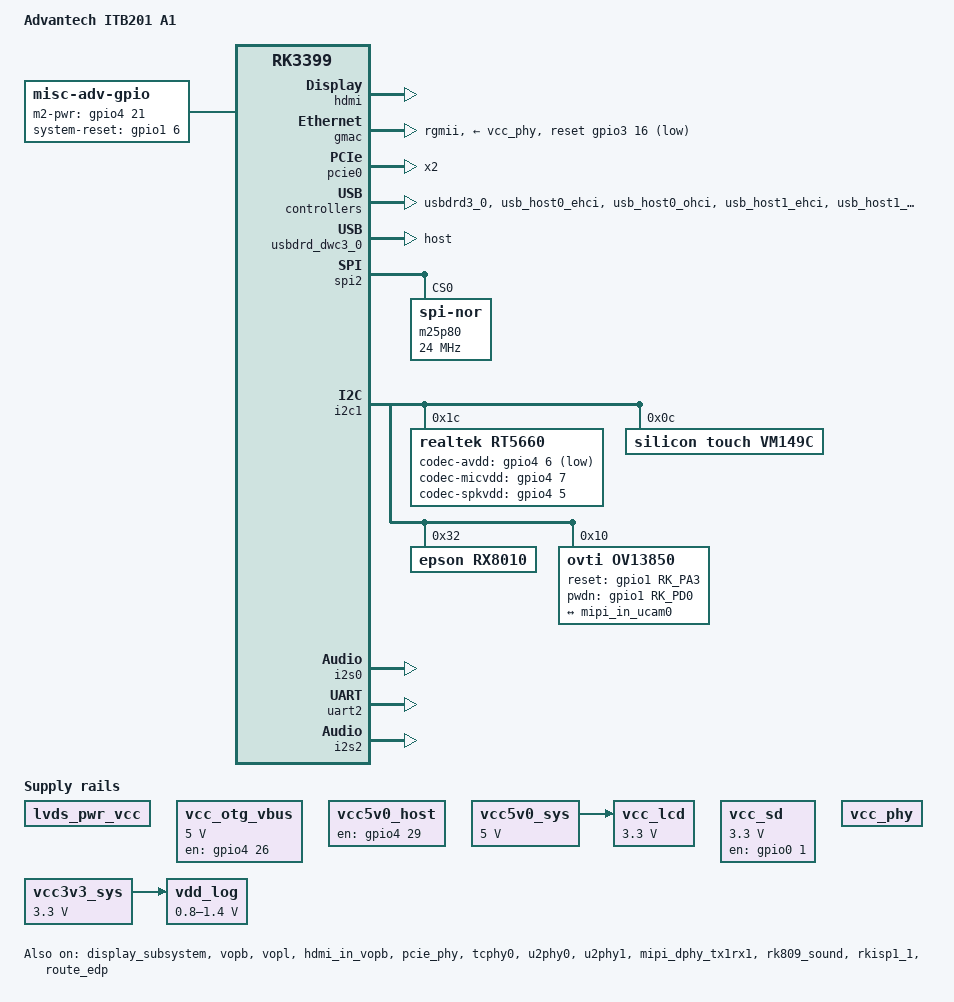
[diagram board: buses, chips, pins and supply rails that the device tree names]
// SPDX-License-Identifier: (GPL-2.0+ OR MIT)
/*
 * Copyright (c) 2019-2020 Fuzhou Rockchip Electronics Co., Ltd.
 */

/dts-v1/;

#include "rk3399-adv-ind.dtsi"
#include "rk3399-linux.dtsi"

/ {
	model = "Advantech ITB201 A1";
	compatible = "rockchip,rk3399-itb201-a1", "rockchip,rk3399";

	rk_key: rockchip-key {
		compatible = "rockchip,key";
		status = "okay";
		pinctrl-names = "default";
		pinctrl-0 = <&pmic_pwr_key>;

		power-key {
			gpios = <&gpio0 5 GPIO_ACTIVE_LOW>;
			linux,code = <116>;
			label = "GPIO Power Key";
			gpio-key,wakeup = <1>;
			polling-release-time = <1000>;//unit:ms
		};
	};

	misc-adv-gpio {
		compatible = "misc-adv-gpio";
		status = "okay";
		pinctrl-names = "default";
		pinctrl-0 = <&m2_pwr_h &system_rst_h &adv_gpios>;
		m2-pwr-gpio = <&gpio4 21 GPIO_ACTIVE_HIGH>;
		system-reset-gpio = <&gpio1 6 GPIO_ACTIVE_HIGH>;
		timing-interval = <110>;
	};

	gpio_export {
		compatible = "adv,gpio_export";
		pinctrl-names = "default";
		pinctrl-0 = <&gpios_export_pins>;
		gpio_counts = <16>; //gpio counts
		adv,export-gpio-use-number;
		#address-cells = <0x1>;
		#size-cells = <0x1>;
		status = "okay";

		gpio-0 = <84 0x0>;
		gpio-1 = <85 0x0>;
		gpio-2 = <86 0x0>;
		gpio-3 = <87 0x0>;
		gpio-4 = <88 0x0>;
		gpio-5 = <89 0x0>;
		gpio-6 = <8 0x0>;
		gpio-7 = <91 0x0>;
		gpio-8 = <124 0x0>;
		gpio-9 = <125 0x0>;
		gpio-10 = <131 0x0>;
		gpio-11 = <132 0x0>;
		gpio-12 = <66 0x0>;
		gpio-13 = <67 0x0>;
		gpio-14 = <68 0x0>;
		gpio-15 = <70 0x0>;
	};

	//lvds vcc
	lvds_pwr_vcc: lvds-pwr-vcc {
		compatible = "regulator-fixed";
		regulator-name = "lvds_pwr_vcc";
		pinctrl-names = "default";
		pinctrl-0 = <&lvds_vdd_pwr>;
		//gpio = <&gpio1 0 GPIO_ACTIVE_HIGH>;
		//startup-delay-us = <20000>;
		enable-active-high;
		//regulator-always-on;
		regulator-boot-on;
		regulator-uboot-logo;
		status = "okay";
	};

	rt5660-sound {
		compatible = "simple-audio-card";
		simple-audio-card,format = "i2s";
		simple-audio-card,name = "rockchip,rt5660-codec";
		simple-audio-card,mclk-fs = <256>;
		status = "okay";

		simple-audio-card,widgets =
				"Microphone", "Microphone Jack",
				"Headphone", "Headphone Jack";
		simple-audio-card,routing =
				"IN1P", "Microphone Jack",
				"IN1N", "Microphone Jack",
				"Microphone Jack", "MICBIAS1",
				"IN3P", "Microphone Jack",
				"IN3N", "Microphone Jack",
				"Microphone Jack", "MICBIAS2",
				"Headphone Jack", "SPO",
				"Headphone Jack", "LOUTL",
				"Headphone Jack", "LOUTR";

		simple-audio-card,cpu {
				sound-dai = <&i2s0>;
		};
		simple-audio-card,codec {
				sound-dai = <&rt5660>;
		};
	};

	hdmi_sound: hdmi-sound {
		status = "okay";
		compatible = "simple-audio-card";
		simple-audio-card,format = "i2s";
		simple-audio-card,mclk-fs = <256>;
		simple-audio-card,name = "rockchip,hdmi";

		simple-audio-card,cpu {
			sound-dai = <&i2s2>;
		};
		simple-audio-card,codec {
			sound-dai = <&hdmi>;
		};
	};

	vcc_otg_vbus: otg-vbus-regulator {
		compatible = "regulator-fixed";
		gpio = <&gpio4 26 GPIO_ACTIVE_HIGH>;
		pinctrl-names = "default";
		pinctrl-0 = <&otg_vbus_drv>;
		regulator-name = "vcc_otg_vbus";
		regulator-min-microvolt = <5000000>;
		regulator-max-microvolt = <5000000>;
		enable-active-high;
	};

	vcc5v0_host: vcc5v0-host-regulator {
		compatible = "regulator-fixed";
		enable-active-high;
		gpio = <&gpio4 29 GPIO_ACTIVE_HIGH>;
		pinctrl-names = "default";
		pinctrl-0 = <&host_vbus_drv>;
		regulator-name = "vcc5v0_host";
		regulator-always-on;
	};

	vcc5v0_sys: vcc5v0-sys {
		compatible = "regulator-fixed";
		regulator-name = "vcc5v0_sys";
		regulator-always-on;
		regulator-boot-on;
		regulator-min-microvolt = <5000000>;
		regulator-max-microvolt = <5000000>;
	};

	vcc_sd: vcc-sd {
		compatible = "regulator-fixed";
		enable-active-high;
		gpio = <&gpio0 1 GPIO_ACTIVE_HIGH>;
		pinctrl-names = "default";
		pinctrl-0 = <&vcc_sd_h>;
		regulator-name = "vcc_sd";
		regulator-min-microvolt = <3300000>;
		regulator-max-microvolt = <3300000>;
		regulator-boot-on;
	};

	vcc_phy: vcc-phy-regulator {
		compatible = "regulator-fixed";
		regulator-name = "vcc_phy";
		regulator-always-on;
		regulator-boot-on;
	};

	vcc3v3_sys: vcc3v3-sys {
		compatible = "regulator-fixed";
		regulator-name = "vcc3v3_sys";
		regulator-always-on;
		regulator-boot-on;
		regulator-min-microvolt = <3300000>;
		regulator-max-microvolt = <3300000>;
	};

	vdd_log: vdd-log {
		compatible = "regulator-fixed";
		pwms = <&pwm2 0 25000 1>;
		regulator-name = "vdd_log";
		regulator-min-microvolt = <800000>;
		regulator-max-microvolt = <1400000>;
		regulator-always-on;
		regulator-boot-on;

		/* for rockchip boot on */
		rockchip,pwm_id= <2>;
		rockchip,pwm_voltage = <900000>;

		vin-supply = <&vcc3v3_sys>;
	};

	iram: sram@ff8d0000 {
		compatible = "mmio-sram";
		reg = <0x0 0xff8d0000 0x0 0x20000>;
	};

	vcc_lcd: vcc-lcd {
		compatible = "regulator-fixed";
		regulator-name = "vcc_lcd";
		startup-delay-us = <20000>;
		enable-active-high;
		regulator-min-microvolt = <3300000>;
		regulator-max-microvolt = <3300000>;
		regulator-boot-on;
		vin-supply = <&vcc5v0_sys>;
	};

	/*
	panel: panel {
		compatible = "simple-panel";
		backlight = <&backlight>;
		power-supply = <&vcc_lcd>;
		reset-gpios = <&gpio1 23 GPIO_ACTIVE_LOW>;
		prepare-delay-ms = <20>;
		enable-delay-ms = <20>;

		display-timings {
			native-mode = <&timing0>;

			timing0: timing0 {
				clock-frequency = <200000000>;
				hactive = <1536>;
				vactive = <2048>;
				hfront-porch = <12>;
				hsync-len = <16>;
				hback-porch = <48>;
				vfront-porch = <8>;
				vsync-len = <4>;
				vback-porch = <8>;
				hsync-active = <0>;
				vsync-active = <0>;
				de-active = <0>;
				pixelclk-active = <0>;
			};
		};

		ports {
			panel_in: endpoint {
				remote-endpoint = <&edp_out>;
			};
		};
	};
	*/

	test-power {
		status = "okay";
	};
};

&backlight {
	enable-gpios = <&gpio1 13 GPIO_ACTIVE_HIGH>;
};

/********************************
**
**   Display subsystem.
**
*********************************/
&display_subsystem {
	status = "okay";
};

&vopb {
	assigned-clocks = <&cru DCLK_VOP0_DIV>;
	assigned-clock-parents = <&cru PLL_VPLL>;
	status = "okay";
};
&vopb_mmu {
	status = "okay";
};

&vopl {
	assigned-clocks = <&cru DCLK_VOP1_DIV>;
	assigned-clock-parents = <&cru PLL_CPLL>;
	status = "okay";
};
&vopl_mmu {
	status = "okay";
};

// &disp_timings {
// 	native-mode = <&lvds_g150xgel05>;

// 	use-dts-screen = <1>;
// 	prmry-screen = <&hdmi_default>;
// 	extend-screen = <&edp_1280x1024>;
// };

/**********
* HDMI
**********/
&hdmi {
	pinctrl-names = "default";
	pinctrl-0 = <&hdmi_i2c_xfer>;
	#address-cells = <1>;
	#size-cells = <0>;
	#sound-dai-cells = <0>;
	status = "okay";
	rockchip,phy-table =
		//mpixelclock sym_ctr term vlev_ctr
		//reg      0x09   0x19    0x0e
		<74250000 0x8009 0x0004 0x0272>,
		<165000000 0x802b 0x0004 0x0209>,
		<297000000 0x801d 0x0005 0x0010>,
		<594000000 0x803b 0x0000 0x0010>,
		//<594000000 0x801d 0x0000 0x0010>,
		<000000000 0x0000 0x0000 0x0000>;
};

&hdmi_in_vopb {
	status = "okay";
};
&hdmi_in_vopl {
	status = "disabled";
};

/************
* Ethernet
* Local MAC.
************/
&gmac {
	phy-supply = <&vcc_phy>;
	phy-mode = "rgmii";
	clock_in_out = "input";
	snps,reset-gpio = <&gpio3 16 GPIO_ACTIVE_LOW>;
	snps,reset-active-low;
	snps,reset-delays-us = <500 20000 75000>;
	assigned-clocks = <&cru SCLK_RMII_SRC>;
	assigned-clock-parents = <&clkin_gmac>;
	pinctrl-names = "default";
	pinctrl-0 = <&rgmii_16ma_pins &rgmii_phy_reset>;
	enable_phy_delay = <0>;
	tx_delay = <0x2a>;
	rx_delay = <0x1e>;
	status = "okay";
};

/****************
* PCIe 
****************/
&pcie_phy {
	status = "okay";
};

&pcie0 {
	ep-gpios = <&gpio1 23 GPIO_ACTIVE_HIGH>;
	num-lanes = <2>;
	pinctrl-names = "default";
	pinctrl-0 = <&pcie_clkreqn &m2_pcie_reset_l>;
	status = "okay";
};

/******************** 
* USB 3.0 for LTE
********************/
&tcphy0 {
	status = "okay";
};

&usbdrd3_0 {
	status = "okay";
};

&usbdrd_dwc3_0 {
	status = "okay";
	dr_mode = "host";
};

&u2phy0 {
	status = "okay";

	u2phy0_otg: otg-port {
		vbus-supply = <&vcc_otg_vbus>;
		status = "okay";
	};
};

/*
* USB2.0 interface.
* 0: LAN2
* 1: USB2.0 HUB.
*/
&usb_host0_ehci {
	status = "okay";
};

&usb_host0_ohci {
	status = "okay";
};

&u2phy0 {
	status = "okay";
	u2phy0_host: host-port {
		status = "okay";
	};
};

&usb_host1_ehci {
	status = "okay";
};

&usb_host1_ohci {
	status = "okay";
};

&u2phy1 {
	status = "okay";

	u2phy1_host: host-port {
		status = "okay";
	};
};

&spi2 {
	status = "okay";
	max-freq = <48000000>;
	/*/delete-property/ dmas;
	/delete-property/ dma-names;*/

	m25p80@0 {
		compatible = "jedec,spi-nor";
		spi-max-frequency = <24000000>;
		reg = <0>;
		//spi-cpol;
		//spi-cpha;
	};

};

&dmac_bus {
	iram = <&iram>;
	rockchip,force-iram;
};

&dp_sound {
	status = "disabled";
};

/*
&edp {
	status = "okay";
	force-hpd;

	ports {
		port@1 {
			reg = <1>;

			edp_out: endpoint {
				remote-endpoint = <&panel_in>;
			};
		};
	};
};
*/

&edp_in_vopb {
	status = "disabled";
};

&i2c1 {
	status = "okay";
	i2c-scl-rising-time-ns = <300>;
	i2c-scl-falling-time-ns = <15>;

	rt5660: rt5660@1c {
		#sound-dai-cells = <0>;
		compatible = "realtek,rt5660";
		rockchip,cru = <&cru>;
		rockchip,grf = <&grf>;
		reg = <0x1c>;
		codec-avdd-gpio = <&gpio4 6 GPIO_ACTIVE_LOW>;
		codec-avdd-delay = <200>;
		codec-micvdd-gpio = <&gpio4 7 GPIO_ACTIVE_HIGH>;
		codec-spkvdd-gpio = <&gpio4 5 GPIO_ACTIVE_HIGH>;
	
		clocks = <&cru SCLK_I2S_8CH_OUT>;
		clock-names = "mclk";

		pinctrl-names = "default";
		pinctrl-0 = <&i2s_8ch_mclk &codec_avdd &codec_micvdd &codec_spkvdd>;
	};

	vm149c: vm149c@0c {
		compatible = "silicon touch,vm149c";
		status = "okay";
		reg = <0x0c>;
		rockchip,camera-module-index = <0>;
		rockchip,camera-module-facing = "back";
	};

	rx8010: rx8010@32 {
        compatible = "epson,rx8010";
        reg = <0x32>;
        status = "okay";
    };

	ov13850: ov13850@10 {
		compatible = "ovti,ov13850";
		status = "okay";
		reg = <0x10>;
		clocks = <&cru SCLK_CIF_OUT>;
		clock-names = "xvclk";

		/* conflict with csi-ctl-gpios */
		reset-gpios = <&gpio1 RK_PA3 GPIO_ACTIVE_HIGH>;
		pwdn-gpios = <&gpio1 RK_PD0 GPIO_ACTIVE_HIGH>;
		pinctrl-names = "rockchip,camera_default";
		pinctrl-0 = <&cif_clkout>;
		rockchip,camera-module-index = <0>;
		rockchip,camera-module-facing = "back";
		rockchip,camera-module-name = "CMK-CT0116";
		rockchip,camera-module-lens-name = "Largan-50013A1";

		lens-focus = <&vm149c>;

		port {
			ucam_out0: endpoint {
				remote-endpoint = <&mipi_in_ucam0>;
				data-lanes = <1 2>;
			};
		};
	};
};

&i2s0 {
	#sound-dai-cells = <0>;
	status = "okay";
	pinctrl-0 = <&i2s0_8ch_bus_1 &codec_lout_mute>;
	amp-mute-gpio = <&gpio3 30 GPIO_ACTIVE_HIGH>;
};

&fiq_debugger {
	rockchip,baudrate = <115200>;  /* Only 115200 and 1500000 */
	status = "disabled";
};

&uart2 {
	status = "okay";
};

&i2s1 {
	#sound-dai-cells = <0>;
	status = "disabled";
};

&i2s2 {
	#sound-dai-cells = <0>;
	status = "okay";
};

&hdmi_sound {
	status = "okay";
};

&mipi_dphy_rx0 {
	status = "disabled";

	ports {
		#address-cells = <1>;
		#size-cells = <0>;

		port@0 {
			reg = <0>;
			#address-cells = <1>;
			#size-cells = <0>;

			mipi_in_ucam0: endpoint@1 {
				reg = <1>;
				remote-endpoint = <&ucam_out0>;
				data-lanes = <1 2>;
			};
		};

		port@1 {
			reg = <1>;
			#address-cells = <1>;
			#size-cells = <0>;

			dphy_rx0_out: endpoint@0 {
				reg = <0>;
				remote-endpoint = <&isp0_mipi_in>;
			};
		};
	};
};

&mipi_dphy_tx1rx1 {
	status = "okay";

	ports {
		#address-cells = <1>;
		#size-cells = <0>;

		port@0 {
			reg = <0>;
			#address-cells = <1>;
			#size-cells = <0>;

			mipi_in_ucam1: endpoint@1 {
				reg = <1>;
				/* Unlinked camera */
				//remote-endpoint = <&ucam_out1>;
				data-lanes = <1 2>;
			};
		};

		port@1 {
			reg = <1>;
			#address-cells = <1>;
			#size-cells = <0>;

			dphy_tx1rx1_out: endpoint@0 {
				reg = <0>;
				remote-endpoint = <&isp1_mipi_in>;
			};
		};
	};
};

&cluster0_opp {
	opp-408000000 {
		opp-microvolt = <840000 840000 1250000>;
		opp-microvolt-L0 = <840000 840000 1250000>;
		opp-microvolt-L1 = <840000 840000 1250000>;
		opp-microvolt-L2 = <840000 840000 1250000>;
		opp-microvolt-L3 = <840000 840000 1250000>;
	};
	opp-600000000 {
		opp-microvolt = <840000 840000 1250000>;
		opp-microvolt-L0 = <840000 840000 1250000>;
		opp-microvolt-L1 = <840000 840000 1250000>;
		opp-microvolt-L2 = <840000 840000 1250000>;
		opp-microvolt-L3 = <840000 840000 1250000>;
	};
	opp-816000000 {
		opp-microvolt = <850000 850000 1250000>;
		opp-microvolt-L0 = <850000 850000 1250000>;
		opp-microvolt-L1 = <850000 850000 1250000>;
		opp-microvolt-L2 = <850000 850000 1250000>;
		opp-microvolt-L3 = <850000 850000 1250000>;
	};
	opp-1008000000 {
		opp-microvolt = <925000 925000 1250000>;
		opp-microvolt-L0 = <925000 925000 1250000>;
		opp-microvolt-L1 = <900000 900000 1250000>;
		opp-microvolt-L2 = <875000 875000 1250000>;
		opp-microvolt-L3 = <850000 850000 1250000>;
	};
	opp-1200000000 {
		opp-microvolt = <1000000 1000000 1250000>;
		opp-microvolt-L0 = <1000000 1000000 1250000>;
		opp-microvolt-L1 = <975000 975000 1250000>;
		opp-microvolt-L2 = <950000 950000 1250000>;
		opp-microvolt-L3 = <925000 925000 1250000>;
	};
	opp-1416000000 {
		opp-microvolt = <1125000 1125000 1250000>;
		opp-microvolt-L0 = <1125000 1125000 1250000>;
		opp-microvolt-L1 = <1100000 1100000 1250000>;
		opp-microvolt-L2 = <1075000 1075000 1250000>;
		opp-microvolt-L3 = <1050000 1050000 1250000>;
	};
};

&cluster1_opp {
	opp-408000000 {
		opp-microvolt = <840000 840000 1250000>;
		opp-microvolt-L0 = <840000 840000 1250000>;
		opp-microvolt-L1 = <840000 840000 1250000>;
		opp-microvolt-L2 = <840000 840000 1250000>;
		opp-microvolt-L3 = <840000 840000 1250000>;
		opp-microvolt-L4 = <840000 840000 1250000>;
	};
	opp-600000000 {
		opp-microvolt = <840000 840000 1250000>;
		opp-microvolt-L0 = <840000 840000 1250000>;
		opp-microvolt-L1 = <840000 840000 1250000>;
		opp-microvolt-L2 = <840000 840000 1250000>;
		opp-microvolt-L3 = <840000 840000 1250000>;
		opp-microvolt-L4 = <840000 840000 1250000>;
	};
	opp-816000000 {
		opp-microvolt = <855000 855000 1250000>;
		opp-microvolt-L0 = <855000 855000 1250000>;
		opp-microvolt-L1 = <855000 855000 1250000>;
		opp-microvolt-L2 = <855000 855000 1250000>;
		opp-microvolt-L3 = <855000 855000 1250000>;
		opp-microvolt-L4 = <855000 855000 1250000>;
	};
	opp-1008000000 {
		opp-microvolt = <875000 875000 1250000>;
		opp-microvolt-L0 = <875000 875000 1250000>;
		opp-microvolt-L1 = <850000 850000 1250000>;
		opp-microvolt-L2 = <850000 850000 1250000>;
		opp-microvolt-L3 = <850000 850000 1250000>;
		opp-microvolt-L4 = <850000 850000 1250000>;
	};
	opp-1200000000 {
		opp-microvolt = <950000 950000 1250000>;
		opp-microvolt-L0 = <950000 950000 1250000>;
		opp-microvolt-L1 = <925000 925000 1250000>;
		opp-microvolt-L2 = <900000 900000 1250000>;
		opp-microvolt-L3 = <875000 875000 1250000>;
		opp-microvolt-L4 = <875000 875000 1250000>;
	};
	opp-1416000000 {
		opp-microvolt = <1025000 1025000 1250000>;
		opp-microvolt-L0 = <1025000 1025000 1250000>;
		opp-microvolt-L1 = <1000000 1000000 1250000>;
		opp-microvolt-L2 = <1000000 1000000 1250000>;
		opp-microvolt-L3 = <975000 975000 1250000>;
		opp-microvolt-L4 = <975000 975000 1250000>;
	};
	opp-1608000000 {
		opp-microvolt = <1100000 1100000 1250000>;
		opp-microvolt-L0 = <1100000 1100000 1250000>;
		opp-microvolt-L1 = <1075000 1075000 1250000>;
		opp-microvolt-L2 = <1050000 1050000 1250000>;
		opp-microvolt-L3 = <1025000 1025000 1250000>;
		opp-microvolt-L4 = <1025000 1025000 1250000>;
	};
	opp-1800000000 {
		opp-microvolt = <1180000 1180000 1220000>;
		opp-microvolt-L0 = <1180000 1180000 1220000>;
		opp-microvolt-L1 = <1175000 1175000 1220000>;
		opp-microvolt-L2 = <1150000 1150000 1220000>;
		opp-microvolt-L3 = <1125000 1125000 1220000>;
		opp-microvolt-L4 = <1100000 1100000 1220000>;
	};
};

&gpu_opp_table {
	opp-200000000 {
		opp-microvolt = <830000>;
		opp-microvolt-L0 = <830000>;
		opp-microvolt-L1 = <830000>;
		opp-microvolt-L2 = <830000>;
		opp-microvolt-L3 = <830000>;
	};
	opp-300000000 {
		opp-microvolt = <830000>;
		opp-microvolt-L0 = <830000>;
		opp-microvolt-L1 = <830000>;
		opp-microvolt-L2 = <830000>;
		opp-microvolt-L3 = <830000>;
	};
	opp-400000000 {
		opp-microvolt = <855000>;
		opp-microvolt-L0 = <855000>;
		opp-microvolt-L1 = <855000>;
		opp-microvolt-L2 = <855000>;
		opp-microvolt-L3 = <855000>;
	};
	opp-600000000 {
		opp-microvolt = <955000>;
		opp-microvolt-L0 = <955000>;
		opp-microvolt-L1 = <955000>;
		opp-microvolt-L2 = <900000>;
		opp-microvolt-L3 = <900000>;
	};
	opp-800000000 {
		opp-microvolt = <1100000>;
		opp-microvolt-L0 = <1100000>;
		opp-microvolt-L1 = <1075000>;
		opp-microvolt-L2 = <1050000>;
		opp-microvolt-L3 = <1025000>;
	};
};

&rk809_sound {
	status = "okay";
};

&rkisp1_0 {
	status = "disabled";

	port {
		#address-cells = <1>;
		#size-cells = <0>;

		isp0_mipi_in: endpoint@0 {
			reg = <0>;
			remote-endpoint = <&dphy_rx0_out>;
		};
	};
};

&rkisp1_1 {
	status = "okay";

	port {
		#address-cells = <1>;
		#size-cells = <0>;

		isp1_mipi_in: endpoint@0 {
			reg = <0>;
			remote-endpoint = <&dphy_tx1rx1_out>;
		};
	};
};

&route_edp {
	status = "okay";
};

/*
 * if enable dp_sound, should disable spdif_sound and spdif_out
 */
&spdif_out {
	status = "disabled";
};

&spdif_sound {
	status = "disabled";
};

&tc358749x_sound {
	status = "disabled";
};

&pinctrl {
	lcd-panel {
		lcd_panel_reset: lcd-panel-reset {
			rockchip,pins = <1 RK_PC7 RK_FUNC_GPIO &pcfg_pull_up>;
		};
	};

	pmic {
		pmic_int_l: pmic-int-l {
			rockchip,pins =
				<1 21 RK_FUNC_GPIO &pcfg_pull_up>;
		};
		pmic_pwr_key: pmic-pwr-key {
			rockchip,pins =
				<0 5 RK_FUNC_GPIO &pcfg_pull_up>;
		};
		vsel1_gpio: vsel1-gpio {
			rockchip,pins =
				<1 17 RK_FUNC_GPIO &pcfg_pull_down>;
		};
		vsel2_gpio: vsel2-gpio {
			rockchip,pins =
				<1 14 RK_FUNC_GPIO &pcfg_pull_down>;
		};
		clk32k_in: clk32k-in {
			rockchip,pins =
				<0 0 RK_PA2 &pcfg_pull_down>;
		};
	};

	misc {
		m2_pwr_h: m2-pwr-h {
			rockchip,pins = <4 21 RK_FUNC_GPIO &pcfg_pull_none>; 
		};
		m2_pcie_reset_l: m2-pcie-reset-l {
			rockchip,pins = <1 23 RK_FUNC_GPIO &pcfg_pull_down>;
		};
		system_rst_h: system-rst-h {
			rockchip,pins = <1 6 RK_FUNC_GPIO &pcfg_pull_down>;
		};
		adv_gpios: adv-gpios {
			rockchip,pins = <1 18 RK_FUNC_GPIO &pcfg_pull_none>,
							<4 4  RK_FUNC_GPIO &pcfg_pull_none>;
		};
	};

	pcfg_pull_none_16ma: pcfg-pull-none-16ma {
		bias-disable;
		drive-strength = <16>;
	};

	pcfg_pull_none_26ma: pcfg-pull-none-26ma {
		bias-disable;
		drive-strength = <26>;
	};

	gpios_export_pins: gpios_export_pins {
		rockchip,pins = 
			<2 20 RK_FUNC_GPIO &pcfg_pull_up>,
			<2 21 RK_FUNC_GPIO &pcfg_pull_up>,
			<2 22 RK_FUNC_GPIO &pcfg_pull_up>,
			<2 23 RK_FUNC_GPIO &pcfg_pull_up>,
			<2 24 RK_FUNC_GPIO &pcfg_pull_up>,
			<2 25 RK_FUNC_GPIO &pcfg_pull_up>,
			<0 8 RK_FUNC_GPIO &pcfg_pull_up>,
			<2 27 RK_FUNC_GPIO &pcfg_pull_up>,
			<3 28 RK_FUNC_GPIO &pcfg_pull_up>,
			<3 29 RK_FUNC_GPIO &pcfg_pull_up>,
			<4 3 RK_FUNC_GPIO &pcfg_pull_up>,
			<4 4 RK_FUNC_GPIO &pcfg_pull_up>,
			<2 2 RK_FUNC_GPIO &pcfg_pull_up>,
			<2 3 RK_FUNC_GPIO &pcfg_pull_up>,
			<2 4 RK_FUNC_GPIO &pcfg_pull_up>,
			<2 6 RK_FUNC_GPIO &pcfg_pull_up>;
	};

	lvds-panel {
		lvds_vdd_pwr: lvds-vdd-pwr {
			rockchip,pins = <1 0 RK_FUNC_GPIO &pcfg_pull_down>;
		};
		lvds_bkl_pwm_en: lvds-bkl-pwm-en {
			rockchip,pins = <4 30 RK_FUNC_GPIO &pcfg_pull_down>;
		};
	};

	codec {
		codec_avdd: codec-avdd {
			rockchip,pins = <4 6 RK_FUNC_GPIO &pcfg_pull_down>;
		};
		codec_micvdd: codec-micvdd {
			rockchip,pins = <4 7 RK_FUNC_GPIO &pcfg_pull_down>;
		};
		codec_spkvdd: codec-spkvdd {
			rockchip,pins = <4 5 RK_FUNC_GPIO &pcfg_pull_down>;
		};
		codec_lout_mute: codec-lout-mute {
			rockchip,pins = <3 30  RK_FUNC_GPIO &pcfg_pull_none>;
		};
	};

	i2s0 {
		i2s0_8ch_bus_1: i2s0-8ch-bus-1 {
			rockchip,pins =
				<3 24 RK_PA1 &pcfg_pull_none>,
				<3 25 RK_PA1 &pcfg_pull_none>,
				<3 26 RK_PA1 &pcfg_pull_none>,
				<3 27 RK_PA1 &pcfg_pull_none>,
				<3 31 RK_PA1 &pcfg_pull_none>;
		};
	};

	usb {
		otg_vbus_drv: otg-vbus-drv {
			rockchip,pins = 
				<4 26 RK_FUNC_GPIO &pcfg_pull_none>;
		};
		host_vbus_drv: host-vbus-drv {
			rockchip,pins =
				<4 29 RK_FUNC_GPIO &pcfg_pull_none>;
		};
	};

	vcc_sd {
		vcc_sd_h: vcc-sd-h {
			rockchip,pins =
				<0 1 RK_FUNC_GPIO &pcfg_pull_up>;
		};
	};

	gmac {
		rgmii_16ma_pins: rgmii-16ma-pins {
			rockchip,pins =
				/* mac_txclk */
				<3 17 RK_FUNC_1 &pcfg_pull_none_16ma>,
				/* mac_rxclk */
				<3 14 RK_FUNC_1 &pcfg_pull_none>,
				/* mac_mdio */
				<3 13 RK_FUNC_1 &pcfg_pull_none>,
				/* mac_txen */
				<3 12 RK_FUNC_1 &pcfg_pull_none_13ma>,
				/* mac_clk */
				<3 11 RK_FUNC_1 &pcfg_pull_none>,
				/* mac_rxdv */
				<3 9 RK_FUNC_1 &pcfg_pull_none>,
				/* mac_mdc */
				<3 8 RK_FUNC_1 &pcfg_pull_none>,
				/* mac_rxd1 */
				<3 7 RK_FUNC_1 &pcfg_pull_none>,
				/* mac_rxd0 */
				<3 6 RK_FUNC_1 &pcfg_pull_none>,
				/* mac_txd1 */
				<3 5 RK_FUNC_1 &pcfg_pull_none_13ma>,
				/* mac_txd0 */
				<3 4 RK_FUNC_1 &pcfg_pull_none_13ma>,
				/* mac_rxd3 */
				<3 3 RK_FUNC_1 &pcfg_pull_none>,
				/* mac_rxd2 */
				<3 2 RK_FUNC_1 &pcfg_pull_none>,
				/* mac_txd3 */
				<3 1 RK_FUNC_1 &pcfg_pull_none_13ma>,
				/* mac_txd2 */
				<3 0 RK_FUNC_1 &pcfg_pull_none_13ma>;
		};
		rgmii_26ma_pins: rgmii-26ma-pins {
			rockchip,pins =
				/* mac_txclk */
				<3 17 RK_FUNC_1 &pcfg_pull_none_26ma>,
				/* mac_rxclk */
				<3 14 RK_FUNC_1 &pcfg_pull_none>,
				/* mac_mdio */
				<3 13 RK_FUNC_1 &pcfg_pull_none>,
				/* mac_txen */
				<3 12 RK_FUNC_1 &pcfg_pull_none_26ma>,
				/* mac_clk */
				<3 11 RK_FUNC_1 &pcfg_pull_none>,
				/* mac_rxdv */
				<3 9 RK_FUNC_1 &pcfg_pull_none>,
				/* mac_mdc */
				<3 8 RK_FUNC_1 &pcfg_pull_none>,
				/* mac_rxd1 */
				<3 7 RK_FUNC_1 &pcfg_pull_none>,
				/* mac_rxd0 */
				<3 6 RK_FUNC_1 &pcfg_pull_none>,
				/* mac_txd1 */
				<3 5 RK_FUNC_1 &pcfg_pull_none_26ma>,
				/* mac_txd0 */
				<3 4 RK_FUNC_1 &pcfg_pull_none_26ma>,
				/* mac_rxd3 */
				<3 3 RK_FUNC_1 &pcfg_pull_none>,
				/* mac_rxd2 */
				<3 2 RK_FUNC_1 &pcfg_pull_none>,
				/* mac_txd3 */
				<3 1 RK_FUNC_1 &pcfg_pull_none_26ma>,
				/* mac_txd2 */
				<3 0 RK_FUNC_1 &pcfg_pull_none_26ma>;
		};
	};

	rgmii_phys {
		rgmii_phy_reset: rgmii-phy-reset {
			rockchip,pins = <3 16 RK_FUNC_GPIO &pcfg_pull_down>;
		};
	};

	pcie {
		pcie_clkreqn: pci-clkreqn {
			rockchip,pins =
				<2 26 RK_FUNC_2 &pcfg_pull_none>;
		};
	};

};

/* DON'T PUT ANYTHING BELOW HERE.  PUT IT ABOVE PINCTRL */
/* DON'T PUT ANYTHING BELOW HERE.  PUT IT ABOVE PINCTRL */
/* DON'T PUT ANYTHING BELOW HERE.  PUT IT ABOVE PINCTRL */

